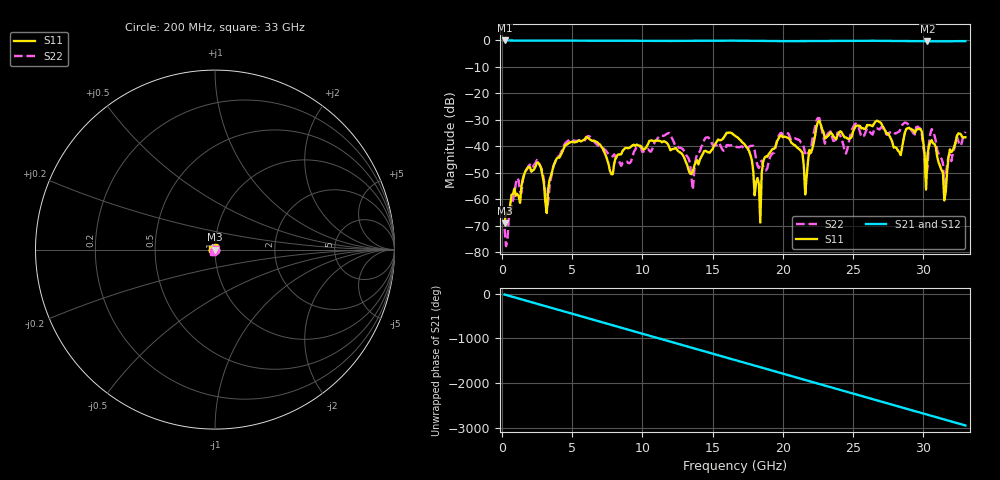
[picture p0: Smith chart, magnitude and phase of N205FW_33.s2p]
# GHZ S RI R 50
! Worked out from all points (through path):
!   329 points, 200 MHz to 33 GHz, reference 50 ohm
!   highest |S21| = -0.02 dB at 200 MHz (marker M1); lowest = -0.4 dB at 30.3 GHz (marker M2)
!   group delay of S21, straight-line fit = 248 ps
!   lowest |S11| = -69.0 dB at 200 MHz (marker M3), VSWR 1.00, Z = 50 + j0.0157 ohm
!   |S11| at or under -10 dB: start of sweep to end of sweep
!   |S22| runs from -77.7 to -29.3 dB; largest |S21 - S12| = 0.0022
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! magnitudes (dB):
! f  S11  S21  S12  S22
! 200 MHz  -69.0  0.0  0.0  -71.2
! 1.1 GHz  -58.0  -0.1  -0.1  -52.0
! 2.6 GHz  -46.2  -0.1  -0.1  -45.8
! 3.2 GHz  -65.2  -0.1  -0.1  -63.7
! 5.7 GHz  -38.0  -0.1  -0.1  -38.1
! 11.2 GHz  -37.9  -0.2  -0.2  -36.4
! 13.6 GHz  -49.5  -0.2  -0.2  -56.5
! 14.5 GHz  -41.7  -0.1  -0.1  -36.8
! 16.6 GHz  -36.0  -0.1  -0.1  -40.0
! 18.2 GHz  -52.0  -0.2  -0.2  -47.3
! 18.4 GHz  -68.8  -0.2  -0.2  -46.6
! 18.7 GHz  -44.3  -0.2  -0.2  -48.9
! 20.4 GHz  -36.9  -0.3  -0.3  -35.2
! 21.6 GHz  -58.2  -0.3  -0.3  -43.1
! 22.1 GHz  -41.1  -0.3  -0.3  -37.6
! 27.6 GHz  -36.1  -0.2  -0.2  -34.8
! 29.8 GHz  -33.5  -0.3  -0.3  -33.4
! 30.2 GHz  -56.3  -0.3  -0.3  -52.1
! 30.3 GHz  -43.3  -0.4  -0.4  -48.1
! 30.6 GHz  -37.7  -0.4  -0.4  -33.5
! 31.5 GHz  -60.4  -0.4  -0.3  -56.7
! 33 GHz  -36.6  -0.3  -0.3  -34.5
